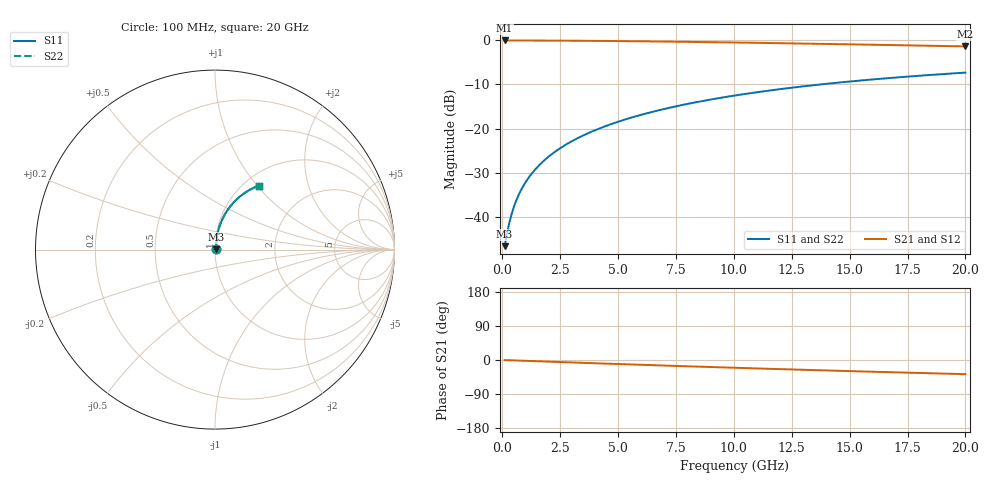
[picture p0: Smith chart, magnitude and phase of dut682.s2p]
! Touchstone file exported from HFSS 2024.1.0
!  File:  C:/UserFiles/LocalFiles/RDL_TSV_Batchsim/temp_RDL_bottom_682_1779786647.aedt
!  Generated:  05:13:12 PM May 26, 2026
!  Design:  RDL_bottom
!  Project:  temp_RDL_bottom_682_1779786647
!  Setup:  Setup1
!  Solution:  Sweep
! Variables:
!  dtsv = 10.80580581um
!  hbump = 3um
!  htsv = 67.99um
!  ldown = 454.42um
!  lrdl = 100um
!  p = 40
!  p1 = 52.56um
!  rhole = 1um
!  t = 450um
!  tdown = 3.02um
!  trdl = 3.915915916um
!  wdown = 13.96um
!  wrdl = 20um
# GHz S MA R 50.000000
! Terminal data exported
! Port[1] = RDL1_T1
! Port[2] = RDL1_T2
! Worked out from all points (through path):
!   200 points, 100 MHz to 20 GHz, reference 50 ohm
!   highest |S21| = -0.03 dB at 100 MHz (marker M1); lowest = -1.4 dB at 20 GHz (marker M2)
!   group delay of S21, straight-line fit = 5.18 ps
!   lowest |S11| = -46.6 dB at 100 MHz (marker M3), VSWR 1.01, Z = 50.4 + j0.251 ohm
!   |S11| at or under -10 dB: start of sweep to 13.73 GHz
!   |S22| runs from -46.6 to -7.3 dB; largest |S21 - S12| = 2.7e-15
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0.1  0.004671 32.3  0.996 -0.2  0.996 -0.2  0.004671 32.3
! Gamma 0 0 0 0
! Port Impedance 50 0 50 0
0.2  0.006396 51.0  0.996 -0.4  0.996 -0.4  0.006396 51.0
0.3  0.008496 60.9  0.9959 -0.7  0.9959 -0.7  0.008496 60.9
0.4  0.01073 66.7  0.9957 -0.9  0.9957 -0.9  0.01073 66.7
0.5  0.01302 70.3  0.9956 -1.1  0.9956 -1.1  0.01302 70.3
0.6  0.01532 72.8  0.9955 -1.3  0.9955 -1.3  0.01532 72.8
0.8  0.01996 76.0  0.9952 -1.8  0.9952 -1.8  0.01996 76.0
1.1  0.02697 78.6  0.9947 -2.4  0.9947 -2.4  0.02697 78.6
1.5  0.03636 80.4  0.9939 -3.3  0.9939 -3.3  0.03636 80.4
1.8  0.04344 81.1  0.9933 -3.9  0.9933 -3.9  0.04344 81.1
2.1  0.05054 81.4  0.9925 -4.6  0.9925 -4.6  0.05054 81.4
2.7  0.06479 81.6  0.9907 -5.8  0.9907 -5.8  0.06479 81.6
3.5  0.08386 81.3  0.9877 -7.5  0.9877 -7.5  0.08385 81.3
4.2  0.1006 80.6  0.9845 -9.0  0.9845 -9.0  0.1006 80.6
5  0.1197 79.7  0.9803 -10.6  0.9803 -10.6  0.1196 79.7
5.9  0.1411 78.5  0.975 -12.5  0.975 -12.5  0.1411 78.5
6.8  0.1624 77.2  0.9691 -14.3  0.9691 -14.3  0.1624 77.2
8.3  0.1974 74.8  0.9583 -17.2  0.9583 -17.2  0.1974 74.8
10.1  0.2384 71.8  0.944 -20.6  0.944 -20.6  0.2384 71.8
13.4  0.3094 66.3  0.9152 -26.6  0.9152 -26.6  0.3093 66.3
16.7  0.3737 60.9  0.8845 -32.1  0.8845 -32.1  0.3736 60.8
20  0.4308 55.7  0.853 -37.3  0.853 -37.3  0.4307 55.7
